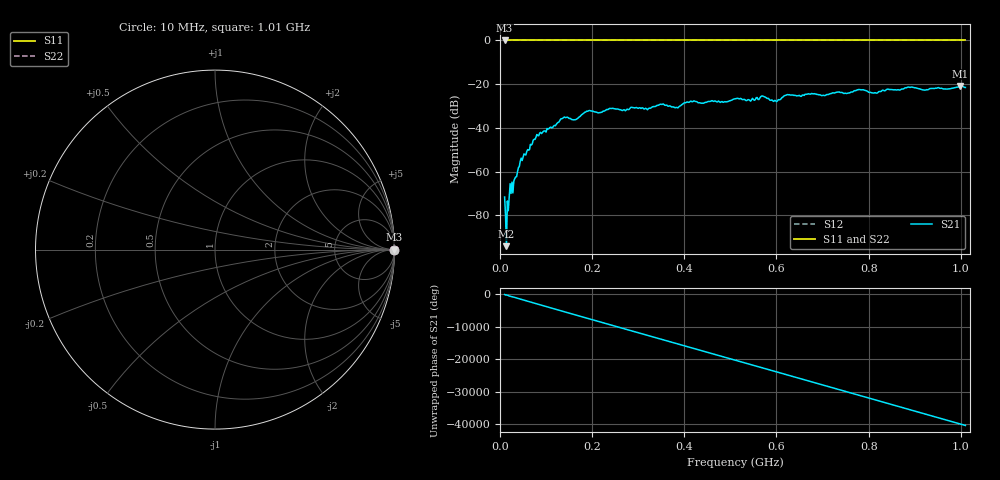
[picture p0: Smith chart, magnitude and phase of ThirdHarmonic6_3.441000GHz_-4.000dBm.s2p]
! 8/17/2025 11:05:26 AM
! C:\ANRITSUVNA\TEMP\TEMP.S2P
! CHANNEL.1
! TR.MEASUREMENT
! RAW.DATA
! RF.CORRECTION.OFF
! AVERAGING.OFF
! IF.BANDWIDTH: 5KHZ
! SWEEPTYPE:  FREQ.SWEEP(Linear)
! Reference Plane Port Info
! PORT:  PORT1  PORT2
! DISTANCE:  0  m  0  m
! TIME:  0  s  0  s
! PHASE.OFFSET:  0  deg.  0  deg.
! LOSS:  0  dB  0  dB
! REF.LOSS:  0  dB  0  dB
! REF.FREQ:  0  Hz  0  Hz
! Power Info
! POWER:  -20  dBm  -20  dBm
! EFF.POWER:  -20  dBm  -20  dBm
! SOURCE.ATTEN:  0  dB  0  dB
! TEST.ATTEN:  0  dB  0  dB
# GHZ S RI R 50.0
! FREQ.GHZ  S11RE  S11IM  S21RE  S21IM  S12RE  S12IM  S22RE  S22IM
!; PortSelection: Port_12
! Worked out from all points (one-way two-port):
!   501 points, 10 MHz to 1.01 GHz, reference 50 ohm
!   highest |S21| = -20.86 dB at 998 MHz (marker M1); lowest = -94.0 dB at 14 MHz (marker M2)
!   lowest |S11| = 0.0 dB at 10 MHz (marker M3)
!   |S11| at or under -10 dB: nowhere
!   |S22| runs from 0.0 to 0.0 dB; largest |S21 - S12| = 1.1
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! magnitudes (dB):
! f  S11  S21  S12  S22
! 10 MHz  0.0  -71.6  0.0  0.0
! 14 MHz  0.0  -94.0  0.0  0.0
! 16 MHz  0.0  -73.4  0.0  0.0
! 26 MHz  0.0  -64.7  0.0  0.0
! 48 MHz  0.0  -54.9  0.0  0.0
! 76 MHz  0.0  -45.2  0.0  0.0
! 136 MHz  0.0  -35.6  0.0  0.0
! 162 MHz  0.0  -36.2  0.0  0.0
! 178 MHz  0.0  -33.8  0.0  0.0
! 192 MHz  0.0  -32.1  0.0  0.0
! 322 MHz  0.0  -31.2  0.0  0.0
! 344 MHz  0.0  -29.6  0.0  0.0
! 384 MHz  0.0  -30.6  0.0  0.0
! 418 MHz  0.0  -28.0  0.0  0.0
! 510 MHz  0.0  -26.7  0.0  0.0
! 570 MHz  0.0  -25.4  0.0  0.0
! 598 MHz  0.0  -27.5  0.0  0.0
! 622 MHz  0.0  -24.9  0.0  0.0
! 678 MHz  0.0  -24.4  0.0  0.0
! 844 MHz  0.0  -22.4  0.0  0.0
! 998 MHz  0.0  -20.9  0.0  0.0
! 1.01 GHz  0.0  -21.5  0.0  0.0
